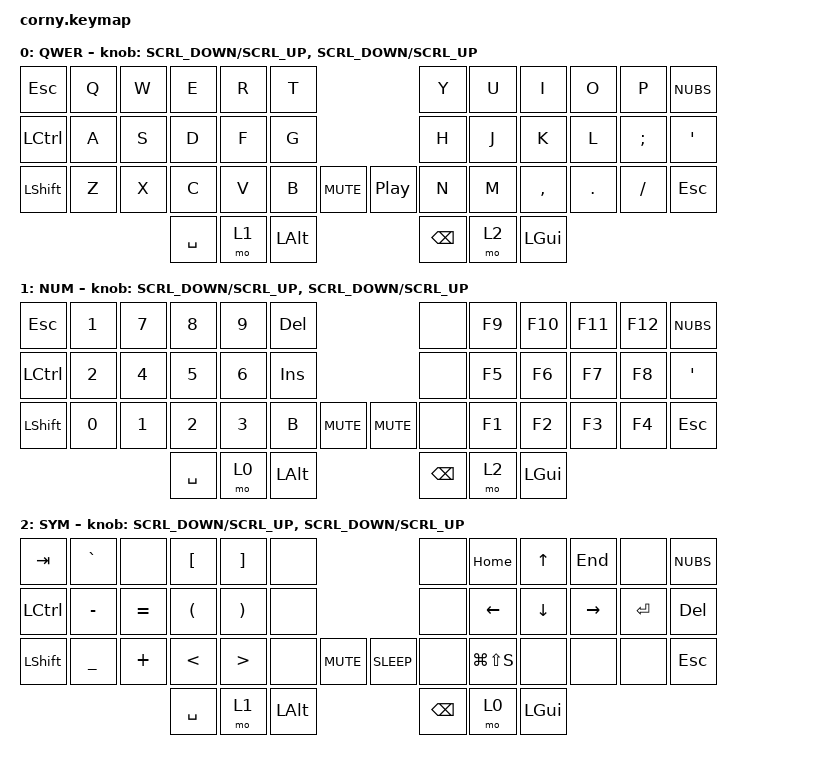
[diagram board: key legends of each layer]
#include <behaviors.dtsi>
#include <dt-bindings/zmk/keys.h>
#include <dt-bindings/zmk/bt.h>
#include <dt-bindings/zmk/mouse.h>

/ {
        behaviors {
        scroll_encoder: scroll_encoder {
            compatible = "zmk,behavior-sensor-rotate-var";
            #sensor-binding-cells = <2>;
            bindings = <&msc>, <&msc>;
            tap-ms = <20>;
        };
    };
};

/ {
        keymap {
                compatible = "zmk,keymap";

                QWER {
                        bindings = <
                                &kp ESC    &kp Q      &kp W      &kp E      &kp R      &kp T                              &kp Y      &kp U      &kp I      &kp O      &kp P      &kp NUBS
                                &kp LCTRL  &kp A      &kp S      &kp D      &kp F      &kp G                              &kp H      &kp J      &kp K      &kp L      &kp SEMI   &kp SQT
                                &kp LSHFT  &kp Z      &kp X      &kp C      &kp V      &kp B      &kp C_MUTE  &kp C_PP    &kp N      &kp M      &kp COMMA  &kp DOT    &kp FSLH   &kp ESC
                                                                 &kp SPACE  &mo 1      &kp LALT                           &kp BSPC   &mo 2      &kp LGUI
                        >;
                        sensor-bindings = <&scroll_encoder SCRL_DOWN SCRL_UP &scroll_encoder SCRL_DOWN SCRL_UP>;
                };
                NUM {
                        bindings = <
                                &kp ESC    &kp N1     &kp N7     &kp N8     &kp N9     &kp DEL                            &none      &kp F9     &kp F10    &kp F11    &kp F12    &kp NUBS
                                &kp LCTRL  &kp N2     &kp N4     &kp N5     &kp N6     &kp INS                            &none      &kp F5     &kp F6     &kp F7     &kp F8     &kp SQT
                                &kp LSHFT  &kp N0     &kp N1     &kp N2     &kp N3     &kp B      &kp C_MUTE  &kp C_MUTE  &none      &kp F1     &kp F2     &kp F3     &kp F4     &kp ESC
                                                                 &kp SPACE  &mo 0      &kp LALT                           &kp BSPC   &mo 2      &kp LGUI
                        >;
                        sensor-bindings = <&scroll_encoder SCRL_DOWN SCRL_UP &scroll_encoder SCRL_DOWN SCRL_UP>;
                };
                SYM {
                        bindings = <
                                &kp TAB    &kp GRAVE  &none      &kp LBKT   &kp RBKT    &none                               &none      &kp HOME      &kp UP     &kp END    &none      &kp NUBS
                                &kp LCTRL  &kp MINUS  &kp EQUAL  &kp LPAR   &kp RPAR    &none                               &none      &kp LEFT      &kp DOWN   &kp RIGHT  &kp RET    &kp DEL
                                &kp LSHFT  &kp UNDER  &kp PLUS   &kp LT     &kp GT      &none      &kp C_MUTE  &kp K_SLEEP  &none      &kp LG(LS(S)) &none      &none      &none      &kp ESC
                                                                 &kp SPACE   &mo 1       &kp LALT                            &kp BSPC   &mo 0         &kp LGUI
                        >;
                        sensor-bindings = <&scroll_encoder SCRL_DOWN SCRL_UP &scroll_encoder SCRL_DOWN SCRL_UP>;
                };
        };
};
